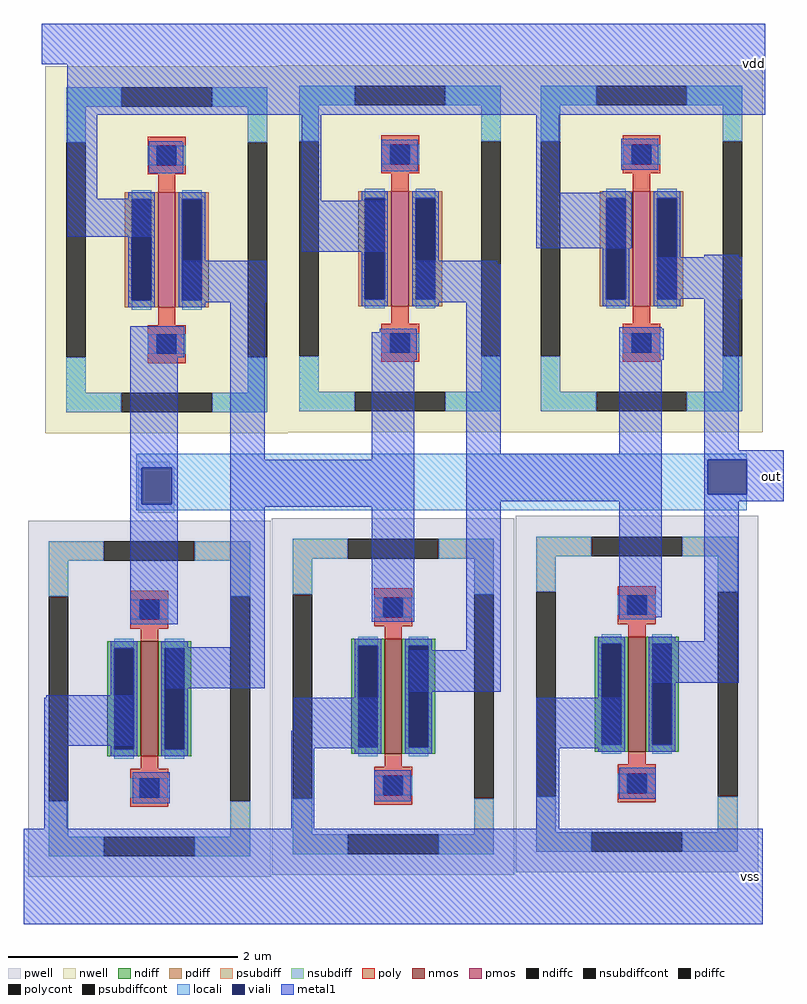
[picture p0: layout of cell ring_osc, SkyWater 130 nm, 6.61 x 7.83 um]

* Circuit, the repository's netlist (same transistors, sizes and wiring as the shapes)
** sch_path: /home/vinayreddy/Desktop/mspdr/week4/ring_osc_pl/ring_osc.sch
**.subckt ring_osc gnd VDD out
*.iopin gnd
*.iopin VDD
*.opin out
XM1 net1 out gnd gnd sky130_fd_pr__nfet_01v8 L=0.15 W=1 nf=1 ad='int((nf+1)/2) * W/nf * 0.29' as='int((nf+2)/2) * W/nf * 0.29'
+ pd='2*int((nf+1)/2) * (W/nf + 0.29)' ps='2*int((nf+2)/2) * (W/nf + 0.29)' nrd='0.29 / W' nrs='0.29 / W'
+ sa=0 sb=0 sd=0 mult=1 m=1
XM2 net1 out VDD VDD sky130_fd_pr__pfet_01v8 L=0.15 W=1 nf=1 ad='int((nf+1)/2) * W/nf * 0.29' as='int((nf+2)/2) * W/nf * 0.29'
+ pd='2*int((nf+1)/2) * (W/nf + 0.29)' ps='2*int((nf+2)/2) * (W/nf + 0.29)' nrd='0.29 / W' nrs='0.29 / W'
+ sa=0 sb=0 sd=0 mult=1 m=1
XM3 net2 net1 gnd gnd sky130_fd_pr__nfet_01v8 L=0.15 W=1 nf=1 ad='int((nf+1)/2) * W/nf * 0.29' as='int((nf+2)/2) * W/nf * 0.29'
+ pd='2*int((nf+1)/2) * (W/nf + 0.29)' ps='2*int((nf+2)/2) * (W/nf + 0.29)' nrd='0.29 / W' nrs='0.29 / W'
+ sa=0 sb=0 sd=0 mult=1 m=1
XM4 net2 net1 VDD VDD sky130_fd_pr__pfet_01v8 L=0.15 W=1 nf=1 ad='int((nf+1)/2) * W/nf * 0.29' as='int((nf+2)/2) * W/nf * 0.29'
+ pd='2*int((nf+1)/2) * (W/nf + 0.29)' ps='2*int((nf+2)/2) * (W/nf + 0.29)' nrd='0.29 / W' nrs='0.29 / W'
+ sa=0 sb=0 sd=0 mult=1 m=1
XM5 out net2 gnd gnd sky130_fd_pr__nfet_01v8 L=0.15 W=1 nf=1 ad='int((nf+1)/2) * W/nf * 0.29' as='int((nf+2)/2) * W/nf * 0.29'
+ pd='2*int((nf+1)/2) * (W/nf + 0.29)' ps='2*int((nf+2)/2) * (W/nf + 0.29)' nrd='0.29 / W' nrs='0.29 / W'
+ sa=0 sb=0 sd=0 mult=1 m=1
XM6 out net2 VDD VDD sky130_fd_pr__pfet_01v8 L=0.15 W=1 nf=1 ad='int((nf+1)/2) * W/nf * 0.29' as='int((nf+2)/2) * W/nf * 0.29'
+ pd='2*int((nf+1)/2) * (W/nf + 0.29)' ps='2*int((nf+2)/2) * (W/nf + 0.29)' nrd='0.29 / W' nrs='0.29 / W'
+ sa=0 sb=0 sd=0 mult=1 m=1
**.ends
.end

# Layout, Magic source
magic
tech sky130A
magscale 1 2
<< pwell >>
rect 478 436 532 444
rect 478 356 540 436
<< locali >>
rect 474 448 1536 458
rect 474 434 1468 448
rect 474 370 484 434
rect 536 388 1468 434
rect 536 370 1536 388
rect 474 360 1536 370
<< viali >>
rect 484 370 536 434
rect 1468 388 1536 448
<< metal1 >>
rect 310 1136 1568 1206
rect 354 1048 1568 1136
rect 354 902 406 1048
rect 496 1000 554 1002
rect 496 948 556 1000
rect 498 946 556 948
rect 354 836 502 902
rect 762 898 796 1048
rect 900 950 964 1004
rect 1170 912 1210 1048
rect 1318 952 1382 1006
rect 762 810 910 898
rect 1170 816 1336 912
rect 1462 800 1522 804
rect 556 722 700 794
rect 958 788 1102 794
rect 958 722 1108 788
rect 1380 728 1528 800
rect 464 626 558 680
rect 464 434 546 626
rect 464 370 484 434
rect 536 370 546 434
rect 464 162 546 370
rect 638 448 698 722
rect 898 670 962 676
rect 884 622 962 670
rect 884 448 958 622
rect 638 366 958 448
rect 638 122 698 366
rect 884 166 958 366
rect 1048 458 1108 722
rect 1314 676 1388 678
rect 1314 622 1392 676
rect 1314 458 1388 622
rect 1048 376 1388 458
rect 526 50 698 122
rect 1048 116 1108 376
rect 1314 174 1388 376
rect 1462 464 1522 728
rect 1462 448 1600 464
rect 1462 388 1468 448
rect 1536 388 1600 448
rect 1462 376 1600 388
rect 1314 170 1378 174
rect 1462 132 1522 376
rect 950 44 1108 116
rect 1368 60 1522 132
rect 318 34 468 38
rect 314 -50 468 34
rect 748 -24 898 34
rect 314 -194 354 -50
rect 744 -54 898 -24
rect 1170 -54 1320 34
rect 468 -150 532 -96
rect 744 -194 784 -54
rect 888 -146 952 -92
rect 1170 -194 1210 -54
rect 1314 -142 1378 -88
rect 278 -360 1564 -194
use sky130_fd_pr__nfet_01v8_648S5X  XM1
transform 1 0 921 0 1 36
box -211 -310 211 310
use sky130_fd_pr__pfet_01v8_XGS3BL  XM2
transform 1 0 527 0 1 813
box -211 -319 211 319
use sky130_fd_pr__nfet_01v8_648S5X  XM3
transform 1 0 1345 0 1 40
box -211 -310 211 310
use sky130_fd_pr__pfet_01v8_XGS3BL  XM4
transform 1 0 933 0 1 815
box -211 -319 211 319
use sky130_fd_pr__nfet_01v8_648S5X  XM5
transform 1 0 497 0 1 32
box -211 -310 211 310
use sky130_fd_pr__pfet_01v8_XGS3BL  XM6
transform 1 0 1353 0 1 815
box -211 -319 211 319
<< labels >>
rlabel space 1530 1072 1570 1202 3 vdd
port 1 e
rlabel space 1560 370 1598 468 3 out
port 2 e
rlabel space 1520 -368 1564 -188 3 vss
port 3 e
<< end >>

# cell sky130_fd_pr__nfet_01v8_648S5X: kit device sky130_fd_pr__nfet_01v8, w 1.0 l 0.15 m 1 nf 1 diffcov 100 polycov 100 guard 1 glc 1 grc 1 gtc 1 gbc 1 tbcov 100 rlcov 100 topc 1 botc 1 poverlap 0 doverlap 1 lmin 0.15 wmin 0.42 compatible {sky130_fd_pr__nfet_01v8 sky130_fd_pr__nfet_01v8_lvt sky130_fd_bs_flash__special_sonosfet_star sky130_fd_pr__nfet_g5v0d10v5 sky130_fd_pr__nfet_05v0_nvt sky130_fd_pr__nfet_03v3_nvt} full_metal 1 viasrc 100 viadrn 100 viagate 100 viagb 0 viagr 0 viagl 0 viagt 0

# cell sky130_fd_pr__pfet_01v8_XGS3BL: kit device sky130_fd_pr__pfet_01v8, w 1.0 l 0.15 m 1 nf 1 diffcov 100 polycov 100 guard 1 glc 1 grc 1 gtc 1 gbc 1 tbcov 100 rlcov 100 topc 1 botc 1 poverlap 0 doverlap 1 lmin 0.15 wmin 0.42 compatible {sky130_fd_pr__pfet_01v8 sky130_fd_pr__pfet_01v8_lvt sky130_fd_pr__pfet_01v8_hvt sky130_fd_pr__pfet_g5v0d10v5} full_metal 1 viasrc 100 viadrn 100 viagate 100 viagb 0 viagr 0 viagl 0 viagt 0
